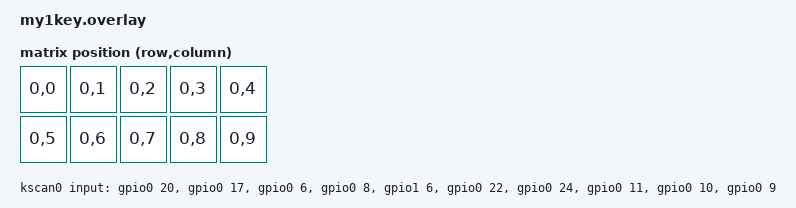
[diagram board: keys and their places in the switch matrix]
#include <dt-bindings/zmk/matrix_transform.h>
#include <physical_layouts.dtsi>

/ {
    chosen {
        zmk,kscan = &kscan0;
        zmk,physical-layout = &my_layout;
    };

    my_layout: my_layout {
        compatible = "zmk,physical-layout";
        display-name = "My1Key";
        transform = <&keymap_transform>;
        keys
            /* Col 0 — rotated 30.6° clockwise around each key's own center */
            /* pre-rotation position estimated from photo */
            = <&key_physical_attrs 100 100   0 150 3060  50 200>
            , <&key_physical_attrs 100 100   0 250 3060  50 300>

            /* Col 1 — 0.5u lower than col 2 */
            , <&key_physical_attrs 100 100 150  50 0 0 0>
            , <&key_physical_attrs 100 100 150 150 0 0 0>

            /* Col 2 — reference column, highest */
            , <&key_physical_attrs 100 100 250   0 0 0 0>
            , <&key_physical_attrs 100 100 250 100 0 0 0>

            /* Col 3 — 0.25u lower than col 2 */
            , <&key_physical_attrs 100 100 350  25 0 0 0>
            , <&key_physical_attrs 100 100 350 125 0 0 0>

            /* Col 4 — 1 key only, 0.5u lower than col 2 */
            , <&key_physical_attrs 100 100 450  50 0 0 0>
            ;
    };

    keymap_transform: keymap_transform {
        compatible = "zmk,matrix-transform";
        rows = <1>;
        columns = <10>;
        map = <
            RC(0,0) RC(0,1) RC(0,2) RC(0,3) RC(0,4)
            RC(0,5) RC(0,6) RC(0,7) RC(0,8) RC(0,9)
        >;
    };

    kscan0: kscan0 {
        compatible = "zmk,kscan-gpio-direct";
        wakeup-source;
        input-gpios
            = <&gpio0 20 (GPIO_ACTIVE_LOW | GPIO_PULL_UP)>
            , <&gpio0 17 (GPIO_ACTIVE_LOW | GPIO_PULL_UP)>
            , <&gpio0 6 (GPIO_ACTIVE_LOW | GPIO_PULL_UP)>
            , <&gpio0 8 (GPIO_ACTIVE_LOW | GPIO_PULL_UP)>
            , <&gpio1 6 (GPIO_ACTIVE_LOW | GPIO_PULL_UP)>
            , <&gpio0 22 (GPIO_ACTIVE_LOW | GPIO_PULL_UP)>
            , <&gpio0 24 (GPIO_ACTIVE_LOW | GPIO_PULL_UP)>
            , <&gpio0 11 (GPIO_ACTIVE_LOW | GPIO_PULL_UP)>
            , <&gpio0 10 (GPIO_ACTIVE_LOW | GPIO_PULL_UP)>
            , <&gpio0 9 (GPIO_ACTIVE_LOW | GPIO_PULL_UP)>
            ;
    };
};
